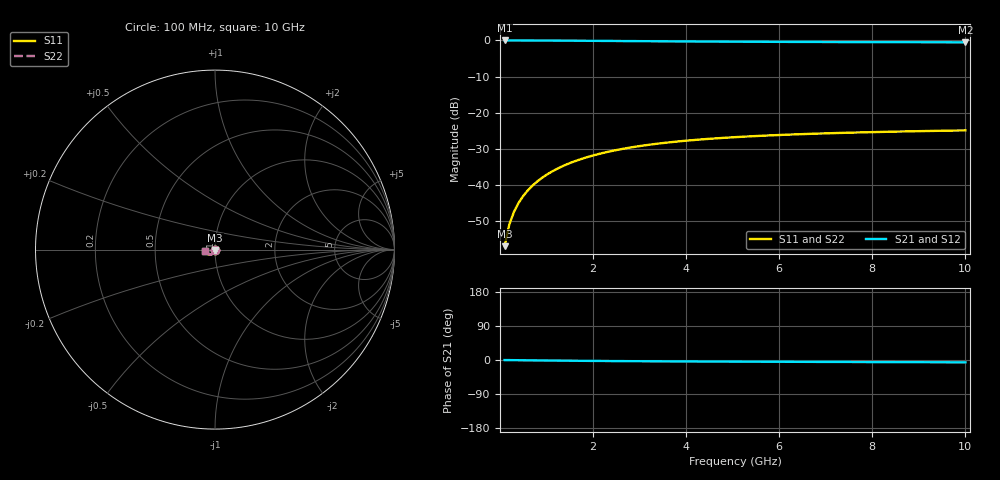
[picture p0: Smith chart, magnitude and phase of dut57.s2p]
! Touchstone file exported from HFSS 2024.1.0
!  File:  C:/UserFiles/LocalFiles/RDL_TSV_Batchsim/temp_TSV1_57_1779372715.aedt
!  Generated:  10:17:18 PM May 21, 2026
!  Design:  TSV1
!  Project:  temp_TSV1_57_1779372715
!  Setup:  Setup1
!  Solution:  Sweep
! Variables:
!  dtsv = 9.1um
!  hbump = 3um
!  htsv = 99.44um
!  lrdl = 252.1521522um
!  p = 40
!  p1 = 40.88um
!  t = 500um
!  trdl = 3um
!  wrdl = 24.89489489um
# GHz S MA R 50.000000
! Terminal data exported
! Port[1] = TSV22_T1
! Port[2] = TSV22_T2
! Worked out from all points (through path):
!   100 points, 100 MHz to 10 GHz, reference 50 ohm
!   highest |S21| = 0.00 dB at 100 MHz (marker M1); lowest = -0.5 dB at 10 GHz (marker M2)
!   lowest |S11| = -56.9 dB at 100 MHz (marker M3), VSWR 1.00, Z = 50 - j0.141 ohm
!   |S11| at or under -10 dB: start of sweep to end of sweep
!   |S22| runs from -56.9 to -24.9 dB; largest |S21 - S12| = 7e-15
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0.1  0.001423 -83.2  0.9998 -0.1  0.9998 -0.1  0.001423 -83.2
! Gamma 0 0 0 0
! Port Impedance 50 0 50 0
0.2  0.002827 -88.7  0.9996 -0.3  0.9996 -0.3  0.002827 -88.7
0.3  0.004238 -91.5  0.9994 -0.4  0.9994 -0.4  0.004238 -91.5
0.4  0.005646 -93.7  0.9991 -0.6  0.9991 -0.6  0.005646 -93.7
0.5  0.007047 -95.6  0.9988 -0.7  0.9988 -0.7  0.007047 -95.6
0.6  0.008436 -97.4  0.9984 -0.8  0.9984 -0.8  0.008436 -97.4
0.7  0.009811 -99.1  0.9979 -0.9  0.9979 -0.9  0.009811 -99.1
0.8  0.01117 -100.8  0.9974 -1.1  0.9974 -1.1  0.01117 -100.8
0.9  0.01251 -102.4  0.9968 -1.2  0.9968 -1.2  0.01251 -102.4
1.1  0.01512 -105.4  0.9954 -1.4  0.9954 -1.4  0.01512 -105.4
1.4  0.01886 -109.8  0.9931 -1.8  0.9931 -1.8  0.01886 -109.8
1.6  0.02122 -112.6  0.9914 -2.0  0.9914 -2.0  0.02122 -112.6
1.8  0.02346 -115.3  0.9895 -2.2  0.9895 -2.2  0.02346 -115.3
2.1  0.02661 -119.1  0.9866 -2.5  0.9866 -2.5  0.02661 -119.1
2.5  0.0304 -123.9  0.9827 -2.8  0.9827 -2.8  0.0304 -123.9
2.9  0.03375 -128.3  0.9788 -3.1  0.9788 -3.1  0.03375 -128.3
3.4  0.03737 -133.3  0.9742 -3.5  0.9742 -3.5  0.03737 -133.3
4.2  0.04206 -140.2  0.9675 -3.9  0.9675 -3.9  0.04206 -140.2
5.1  0.04608 -146.8  0.9612 -4.3  0.9612 -4.3  0.04608 -146.8
6.7  0.05108 -156.2  0.9528 -5.0  0.9528 -5.0  0.05108 -156.2
8.4  0.05458 -164.0  0.9466 -5.6  0.9466 -5.6  0.05459 -164.0
10  0.05693 -170.1  0.9425 -6.2  0.9425 -6.2  0.05693 -170.1
